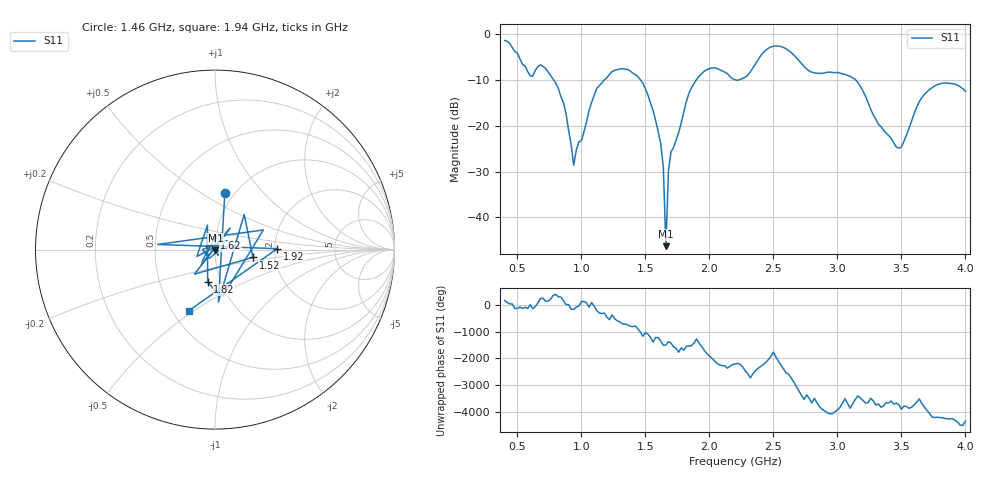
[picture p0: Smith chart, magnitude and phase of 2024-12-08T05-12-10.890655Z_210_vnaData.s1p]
!Created with skrf (http://scikit-rf.org).
# Hz S RI R 50.0
!freq ReS11 ImS11
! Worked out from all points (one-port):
!   181 points, 400 MHz to 4 GHz, reference 50 ohm
!   lowest |S11| = -46.3 dB at 1.66 GHz (marker M1), VSWR 1.01, Z = 50.3 - j0.416 ohm
!   |S11| at or under -10 dB: 784.1 MHz to 1.178 GHz (394.3 MHz wide, 40.2 % of centre); 1.462 GHz to 1.897 GHz (434.8 MHz wide, 25.9 % of centre); 3.143 GHz to end of sweep (the widest 3 of 4)
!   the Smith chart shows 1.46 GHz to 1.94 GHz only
!   S11 on the Smith chart (normalised r, x): 1.46 GHz: 0.91, +0.63; 1.52 GHz: 1.53, -0.14; 1.62 GHz: 0.99, +0.13; 1.82 GHz: 0.87, -0.32; 1.92 GHz: 2.06, +0.02; 1.94 GHz: 0.60, -0.48
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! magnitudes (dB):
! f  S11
! 400 MHz  -1.4
! 600 MHz  -9.1
! 720 MHz  -7.5
! 860 MHz  -15.0
! 940 MHz  -28.6
! 1.12 GHz  -11.8
! 1.3 GHz  -7.6
! 1.46 GHz  -9.9
! 1.52 GHz  -13.3
! 1.62 GHz  -23.9
! 1.64 GHz  -29.0
! 1.66 GHz  -46.3
! 1.68 GHz  -29.9
! 1.7 GHz  -25.7
! 1.76 GHz  -21.5
! 1.82 GHz  -14.7
! 1.92 GHz  -9.2
! 1.94 GHz  -8.6
! 2.2 GHz  -9.9
! 2.48 GHz  -2.8
! 2.66 GHz  -4.5
! 2.8 GHz  -8.3
! 3.1 GHz  -9.2
! 3.46 GHz  -24.6
! 3.56 GHz  -20.5
! 3.64 GHz  -14.7
! 3.74 GHz  -11.7
! 4 GHz  -12.4
